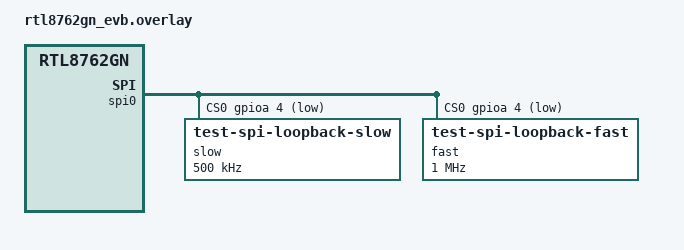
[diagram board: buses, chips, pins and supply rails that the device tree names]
/*
 * Copyright(c) 2020, Realtek Semiconductor Corporation.
 *
 * SPDX-License-Identifier: Apache-2.0
 */

&gpioa {
	status = "okay";
};

&spi0 {
	status = "okay";
	pinctrl-0 = <&spi0_default>;
	pinctrl-names = "default";
	cs-gpios = <&gpioa 4 GPIO_ACTIVE_LOW>;
	slow@0 {
		compatible = "test-spi-loopback-slow";
		reg = <0>;
		spi-max-frequency = <500000>;
	};
	fast@0 {
		compatible = "test-spi-loopback-fast";
		reg = <0>;
		spi-max-frequency = <1000000>;
	};
};

&pinctrl {
	spi0_default: spi0_default {
		group1 {
			psels = <RTL87X2G_PSEL(SPI0_CLK_MASTER, P4_0,DIR_OUT, DRV_HIGH, PULL_UP)>,
			<RTL87X2G_PSEL(SPI0_MO_MASTER, P4_1,DIR_OUT, DRV_HIGH, PULL_UP)>,
			<RTL87X2G_PSEL(SPI0_MI_MASTER, P4_2,DIR_OUT, DRV_HIGH, PULL_UP)>;
		};
	};
};

